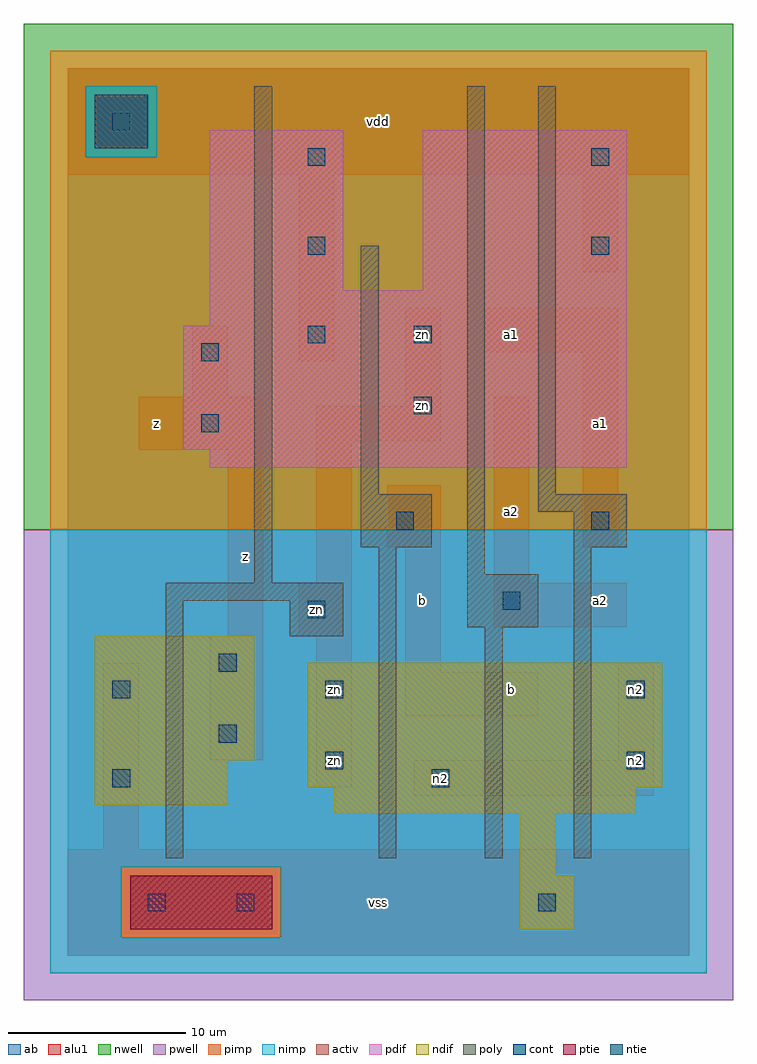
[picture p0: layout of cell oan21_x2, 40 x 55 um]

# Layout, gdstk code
import gdstk
lib = gdstk.Library(unit=1e-6, precision=1e-09)
def R(c, l, rs):  # rectangles x0, y0, x1, y1
    for r in rs: c.add(gdstk.rectangle(r[:2], r[2:], *l))
def A(c, l, x, y, w, h, nx, ny, dx, dy):  # array of equal rectangles
    R(c, l, [(x+i*dx, y+j*dy, x+i*dx+w, y+j*dy+h) for i in range(nx) for j in range(ny)])
ndif = (3, 0)
pdif = (4, 0)
ntie = (5, 0)
ptie = (6, 0)
cont = (25, 0)
pwell = (41, 0)
nwell = (42, 0)
activ = (43, 0)
pimp = (44, 0)
nimp = (45, 0)
poly = (46, 0)
alu1 = (49, 0)
ab = (63, 0)

oan21_x2 = lib.new_cell('oan21_x2')
R(oan21_x2, ndif, [(25.5,1.5,28.5,4.5), (25.5,4.5,27.5,8), (15,8,32,9.5), (1.5,8.5,9,11), (13.5,9.5,33.5,16.5), (1.5,11,10.5,18)])
R(oan21_x2, pdif, [(8,27.5,31.5,28.5), (6.5,28.5,31.5,35.5), (8,35.5,31.5,37.5), (8,37.5,15.5,46.5), (20,37.5,31.5,46.5)])
R(oan21_x2, ntie, [(1.5,45.5,4.5,48.5)])
R(oan21_x2, ptie, [(3.5,1.5,11.5,4.5)])
A(oan21_x2, cont, 13.5, 34.5, 1, 1, 1, 3, 0, 5)
R(oan21_x2, cont, [(4.5,2.5,5.5,3.5), (9.5,2.5,10.5,3.5), (26.5,2.5,27.5,3.5), (2.5,9.5,3.5,10.5), (20.5,9.5,21.5,10.5), (14.5,10.5,15.5,11.5), (31.5,10.5,32.5,11.5), (8.5,12,9.5,13), (2.5,14.5,3.5,15.5), (14.5,14.5,15.5,15.5), (31.5,14.5,32.5,15.5), (8.5,16,9.5,17), (13.5,19,14.5,20), (24.5,19.5,25.5,20.5), (18.5,24,19.5,25), (29.5,24,30.5,25), (7.5,29.5,8.5,30.5), (19.5,30.5,20.5,31.5), (7.5,33.5,8.5,34.5), (19.5,34.5,20.5,35.5), (29.5,39.5,30.5,40.5), (29.5,44.5,30.5,45.5), (2.5,46.5,3.5,47.5)])
R(oan21_x2, pwell, [(-2.5,-2.5,37.5,24)])
R(oan21_x2, nwell, [(-2.5,24,37.5,52.5)])
R(oan21_x2, activ, [(3.5,1.5,11.5,4.5), (25.5,1.5,28.5,4.5), (25.5,4.5,27.5,8), (15,8,32,9.5), (1.5,8.5,9,11), (13.5,9.5,33.5,16.5), (1.5,11,10.5,18), (8,27.5,31.5,28.5), (6.5,28.5,31.5,35.5), (8,35.5,31.5,37.5), (8,37.5,15.5,46.5), (20,37.5,31.5,46.5), (1.5,45.5,4.5,48.5)])
R(oan21_x2, pimp, [(3,1,12,5), (-1,24,36,45), (-1,45,1,49), (5,45,36,49), (-1,49,36,51)])
R(oan21_x2, nimp, [(-1,-1,36,1), (-1,1,3,5), (12,1,36,5), (-1,5,36,24), (1,45,5,49)])
R(oan21_x2, poly, [(5.5,5.5,6.5,20), (17.5,5.5,18.5,23), (23.5,5.5,24.5,18.5), (28.5,5.5,29.5,23), (12.5,18,15.5,20), (22.5,18.5,26.5,21.5), (5.5,20,15.5,21), (10.5,21,11.5,49), (22.5,21.5,23.5,49), (16.5,23,20.5,26), (28.5,23,31.5,25), (26.5,25,31.5,26), (16.5,26,17.5,40), (26.5,26,27.5,49)])
R(oan21_x2, alu1, [(0,0,35,6), (0,0,35,6), (2,6,4,16.5), (2,6,4,16.5), (19.5,9,33,11), (19.5,9,33,11), (14,9.5,16,18), (14,9.5,16,18), (8,11,11,18), (8,11,11,18), (31,11,33,16.5), (31,11,33,16.5), (19,13.5,26.5,16), (19,13.5,26.5,16), (19,16,21,23), (19,16,21,23), (9,18,11,28.5), (9,18,11,28.5), (13,18,16,21), (13,18,16,21), (24,18.5,31.5,21), (24,18.5,31.5,21), (14,21,16,29), (14,21,16,29), (24,21,26,31.5), (24,21,26,31.5), (18,23,21,26.5), (18,23,21,26.5), (29,23,31,34), (29,23,31,34), (4,28.5,11,31.5), (4,28.5,11,31.5), (14,29,21,31), (14,29,21,31), (19,31,21,36.5), (19,31,21,36.5), (7,31.5,9,35.5), (7,31.5,9,35.5), (13,33.5,15,44), (13,33.5,15,44), (23.5,34,31,36.5), (23.5,34,31,36.5), (29,38.5,31,44), (29,38.5,31,44), (0,44,35,50), (0,44,35,50)])
R(oan21_x2, ab, [(0,0,35,50)])
oan21_x2.add(gdstk.Label('zn', (15,11), layer=49, texttype=0))
oan21_x2.add(gdstk.Label('zn', (15,15), layer=49, texttype=0))
oan21_x2.add(gdstk.Label('zn', (14,19.5), layer=49, texttype=0))
oan21_x2.add(gdstk.Label('n2', (21,10), layer=49, texttype=0))
oan21_x2.add(gdstk.Label('zn', (20,35), layer=49, texttype=0))
oan21_x2.add(gdstk.Label('zn', (20,31), layer=49, texttype=0))
oan21_x2.add(gdstk.Label('n2', (32,11), layer=49, texttype=0))
oan21_x2.add(gdstk.Label('n2', (32,15), layer=49, texttype=0))
oan21_x2.add(gdstk.Label('z', (5,30), layer=49, texttype=0))
oan21_x2.add(gdstk.Label('z', (10,22.5), layer=49, texttype=0))
oan21_x2.add(gdstk.Label('vss', (17.5,3), layer=49, texttype=0))
oan21_x2.add(gdstk.Label('b', (20,20), layer=49, texttype=0))
oan21_x2.add(gdstk.Label('b', (25,15), layer=49, texttype=0))
oan21_x2.add(gdstk.Label('a2', (25,25), layer=49, texttype=0))
oan21_x2.add(gdstk.Label('a1', (25,35), layer=49, texttype=0))
oan21_x2.add(gdstk.Label('vdd', (17.5,47), layer=49, texttype=0))
oan21_x2.add(gdstk.Label('a2', (30,20), layer=49, texttype=0))
oan21_x2.add(gdstk.Label('a1', (30,30), layer=49, texttype=0))

lib.write_gds('oan21_x2.gds')
